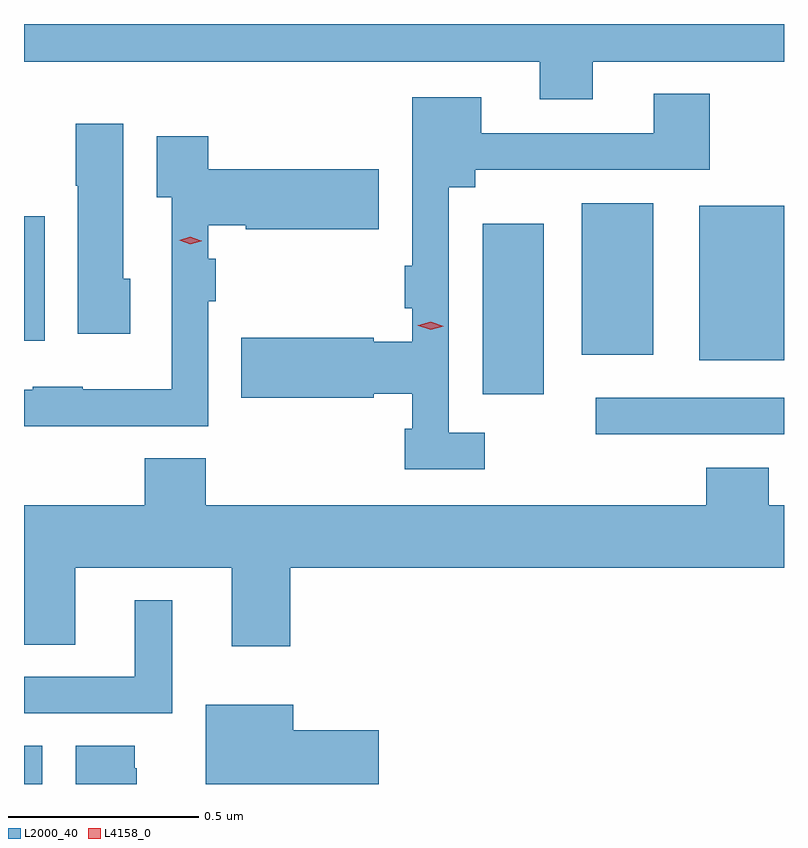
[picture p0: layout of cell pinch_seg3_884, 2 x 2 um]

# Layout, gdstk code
import gdstk
lib = gdstk.Library(unit=1e-6, precision=1e-09)
def R(c, l, rs):  # rectangles x0, y0, x1, y1
    for r in rs: c.add(gdstk.rectangle(r[:2], r[2:], *l))
def P(c, l, *ps):  # polygons
    for p in ps: c.add(gdstk.Polygon(p, *l))
L2000_40 = (2000, 40)
L4158_0 = (4158, 0)

pinch_seg3_884 = lib.new_cell('pinch_seg3_884')
R(pinch_seg3_884, L2000_40, [(682.042,688.359,682.09,688.46), (683.547,689.28,684.042,689.376), (683.249,689.385,683.41,689.833), (683.819,689.474,684.042,689.881), (683.51,689.489,683.698,689.887), (682.042,689.526,682.096,689.853)])
P(pinch_seg3_884, L2000_40, [(683.539,690.26),(684.042,690.26),(684.042,690.359),(682.042,690.359),(682.042,690.26),(683.399,690.26),(683.399,690.161),(683.539,690.161)],
  [(683.254,689.283),(683.16,689.283),(683.16,689.93),(683.23,689.93),(683.23,689.976),(683.847,689.976),(683.847,690.175),(683.699,690.175),(683.699,690.072),(683.245,690.072),(683.245,690.166),(683.064,690.166),(683.064,689.723),(683.044,689.723),(683.044,689.611),(683.064,689.611),(683.064,689.523),(682.962,689.523),(682.962,689.533),(682.614,689.533),(682.614,689.375),(682.962,689.375),(682.962,689.386),(683.064,689.386),(683.064,689.294),(683.044,689.294),(683.044,689.187),(683.254,689.187)],
  [(682.321,689.688),(682.303,689.688),(682.303,690.097),(682.178,690.097),(682.178,689.934),(682.184,689.934),(682.184,689.544),(682.321,689.544)],
  [(682.297,689.301),(682.527,689.301),(682.527,689.629),(682.547,689.629),(682.547,689.741),(682.527,689.741),(682.527,689.83),(682.626,689.83),(682.626,689.819),(682.975,689.819),(682.975,689.977),(682.527,689.977),(682.527,690.064),(682.391,690.064),(682.391,689.903),(682.431,689.903),(682.431,689.398),(682.197,689.398),(682.197,689.404),(682.065,689.404),(682.065,689.397),(682.042,689.397),(682.042,689.301),(682.065,689.301),(682.065,689.3),(682.297,689.3)],
  [(682.742,688.928),(684.042,688.928),(684.042,689.092),(684.002,689.092),(684.002,689.191),(683.837,689.191),(683.837,689.092),(682.52,689.092),(682.52,689.216),(682.36,689.216),(682.36,689.092),(682.042,689.092),(682.042,688.726),(682.177,688.726),(682.177,688.928),(682.589,688.928),(682.589,688.722),(682.742,688.722)],
  [(682.432,688.843),(682.334,688.843),(682.334,688.641),(682.042,688.641),(682.042,688.545),(682.432,688.545)],
  [(682.975,688.5),(682.75,688.5),(682.75,688.567),(682.52,688.567),(682.52,688.359),(682.975,688.359)],
  [(682.339,688.401),(682.333,688.401),(682.333,688.46),(682.178,688.46),(682.178,688.359),(682.339,688.359)])
P(pinch_seg3_884, L4158_0, [(682.48,689.779),(682.451,689.79),(682.45,689.79),(682.451,689.79),(682.48,689.799),(682.509,689.788),(682.51,689.788),(682.509,689.787)],
  [(683.112,689.555),(683.079,689.565),(683.078,689.566),(683.079,689.566),(683.113,689.575),(683.146,689.564),(683.147,689.564),(683.146,689.564)])

lib.write_gds('pinch_seg3_884.gds')
